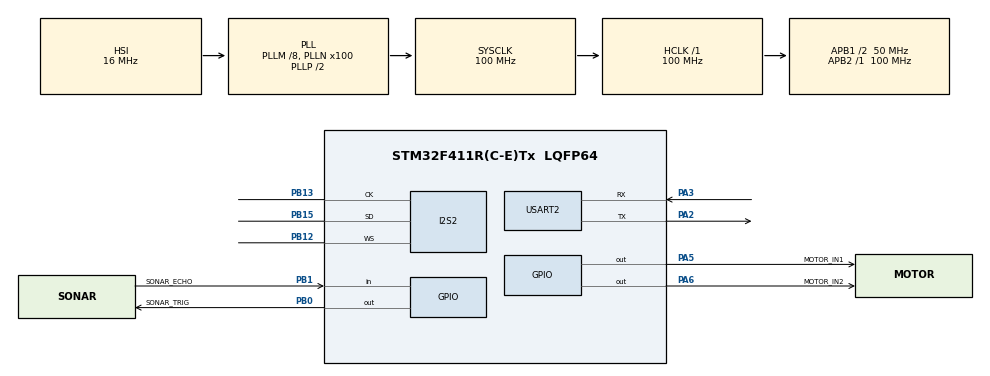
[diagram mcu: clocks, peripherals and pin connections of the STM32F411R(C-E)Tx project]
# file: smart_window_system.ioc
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Dma.Request0=SPI2_RX
Dma.SPI2_RX.0.Direction=DMA_PERIPH_TO_MEMORY
Dma.SPI2_RX.0.FIFOMode=DMA_FIFOMODE_DISABLE
Dma.SPI2_RX.0.Instance=DMA1_Stream3
Dma.SPI2_RX.0.MemDataAlignment=DMA_MDATAALIGN_HALFWORD
Dma.SPI2_RX.0.MemInc=DMA_MINC_ENABLE
Dma.SPI2_RX.0.Mode=DMA_CIRCULAR
Dma.SPI2_RX.0.PeriphDataAlignment=DMA_PDATAALIGN_HALFWORD
Dma.SPI2_RX.0.PeriphInc=DMA_PINC_DISABLE
Dma.SPI2_RX.0.Priority=DMA_PRIORITY_LOW
I2S2.AudioFreq=I2S_AUDIOFREQ_16K
I2S2.DataFormat=I2S_DATAFORMAT_16B_EXTENDED
I2S2.ErrorAudioFreq=-1.31 %
I2S2.FullDuplexMode=I2S_FULLDUPLEXMODE_DISABLE
I2S2.Instance=SPI$Index
I2S2.Mode=I2S_MODE_MASTER_RX
I2S2.RealAudioFreq=15.789 KHz
I2S2.VirtualMode=I2S_MODE_MASTER
Mcu.Family=STM32F4
Mcu.Name=STM32F411R(C-E)Tx
Mcu.Package=LQFP64
NVIC.DMA1_Stream3_IRQn=true\:1\:0\:true\:false\:true\:false\:true\:true
NVIC.PriorityGroup=NVIC_PRIORITYGROUP_4
PA2.Mode=Asynchronous
PA2.Signal=USART2_TX
PA3.Mode=Asynchronous
PA3.Signal=USART2_RX
PA5.GPIO_Label=MOTOR_IN1
PA5.PinState=GPIO_PIN_RESET
PA5.Signal=GPIO_Output
PA6.GPIO_Label=MOTOR_IN2
PA6.PinState=GPIO_PIN_RESET
PA6.Signal=GPIO_Output
PB0.GPIO_Label=SONAR_TRIG
PB0.Signal=GPIO_Output
PB1.GPIO_Label=SONAR_ECHO
PB1.Signal=GPIO_Input
PB12.Mode=Half_Duplex_Master
PB12.Signal=I2S2_WS
PB13.Mode=Half_Duplex_Master
PB13.Signal=I2S2_CK
PB15.Mode=Half_Duplex_Master
PB15.Signal=I2S2_SD
PC14-OSC32_IN.Mode=LSE-External-Oscillator
PC14-OSC32_IN.Signal=RCC_OSC32_IN
PC15-OSC32_OUT.Mode=LSE-External-Oscillator
PC15-OSC32_OUT.Signal=RCC_OSC32_OUT
PH0\ -\ OSC_IN.Mode=HSE-External-Clock-Source
PH0\ -\ OSC_IN.Signal=RCC_OSC_IN
PH1\ -\ OSC_OUT.Mode=HSE-External-Clock-Source
PH1\ -\ OSC_OUT.Signal=RCC_OSC_OUT
ProjectManager.HeapSize=0x800
ProjectManager.StackSize=0x800
ProjectManager.TargetToolchain=STM32CubeIDE
RCC.48MHZClocksFreq_Value=28571428.57142857
RCC.AHBFreq_Value=100000000
RCC.APB1CLKDivider=RCC_HCLK_DIV2
RCC.APB1Freq_Value=50000000
RCC.APB1TimFreq_Value=100000000
RCC.APB2Freq_Value=100000000
RCC.APB2TimFreq_Value=100000000
RCC.CortexFreq_Value=100000000
RCC.FLatency-AdvancedSettings=FLASH_LATENCY_3
RCC.HCLKFreq_Value=100000000
RCC.HSE_VALUE=25000000
RCC.HSI_VALUE=16000000
RCC.PLLI2SR=5
RCC.PLLM=8
RCC.PLLMUL=RCC_PLL_MUL9
RCC.PLLN=100
RCC.PLLQ=7
RCC.RCC_PLLsource_Clock_Source_FROM_HSE=RCC_HSE_PREDIV_DIV2
RCC.SYSCLKFreq_VALUE=100000000
RCC.SYSCLKSource=RCC_SYSCLKSOURCE_PLLCLK
RCC.SYSCLKSourceVirtual=RCC_SYSCLKSOURCE_PLLCLK
RCC.VCOOutputFreq_Value=200000000
STMicroelectronics.X-CUBE-AI.8.0.0.ActivationBufferSizeList=35308
STMicroelectronics.X-CUBE-AI.8.0.0.ActivationBuffers=pool0
STMicroelectronics.X-CUBE-AI.8.0.0.ActivationNames=pool0
STMicroelectronics.X-CUBE-AI.8.0.0.ActivationSizes=AI_RAIN_DETECTOR_MODEL_DATA_ACTIVATION_1_SIZE
STMicroelectronics.X-CUBE-AI.8.0.0.ApplicationCcDeviceJjApplication=ApplicationTemplate
STMicroelectronics.X-CUBE-AI.8.0.0.HeapSize=0x800
STMicroelectronics.X-CUBE-AI.8.0.0.InternalRamActivationBufferMaxSize=AI_RAIN_DETECTOR_MODEL_DATA_ACTIVATIONS_SIZE
STMicroelectronics.X-CUBE-AI.8.0.0.LatestDirectoryUsed-b845f19738b93dee37f0a92ab2f2141bf5e5762379895d0aa1408ba116003dd3=C\:\\Users\\samsung\\GitHub\\sound_train\\models
STMicroelectronics.X-CUBE-AI.8.0.0.MaximumNumberOfInputLayer=1
STMicroelectronics.X-CUBE-AI.8.0.0.MaximumNumberOfOutputLayer=1
STMicroelectronics.X-CUBE-AI.8.0.0.MaximumSizeOfInputLayer=1
STMicroelectronics.X-CUBE-AI.8.0.0.MaximumSizeOfOutputLayer=1
STMicroelectronics.X-CUBE-AI.8.0.0.ModelActualCompression-b845f19738b93dee37f0a92ab2f2141bf5e5762379895d0aa1408ba116003dd3=0.0
STMicroelectronics.X-CUBE-AI.8.0.0.ModelCompression-b845f19738b93dee37f0a92ab2f2141bf5e5762379895d0aa1408ba116003dd3=None
STMicroelectronics.X-CUBE-AI.8.0.0.ModelFlashOccupation-b845f19738b93dee37f0a92ab2f2141bf5e5762379895d0aa1408ba116003dd3=32896
STMicroelectronics.X-CUBE-AI.8.0.0.ModelHashList=b845f19738b93dee37f0a92ab2f2141bf5e5762379895d0aa1408ba116003dd3
STMicroelectronics.X-CUBE-AI.8.0.0.ModelKind-b845f19738b93dee37f0a92ab2f2141bf5e5762379895d0aa1408ba116003dd3=TFLITE
STMicroelectronics.X-CUBE-AI.8.0.0.ModelMacc-b845f19738b93dee37f0a92ab2f2141bf5e5762379895d0aa1408ba116003dd3=1183272
STMicroelectronics.X-CUBE-AI.8.0.0.ModelName-b845f19738b93dee37f0a92ab2f2141bf5e5762379895d0aa1408ba116003dd3=rain_detector_model
STMicroelectronics.X-CUBE-AI.8.0.0.ModelNameList=rain_detector_model
STMicroelectronics.X-CUBE-AI.8.0.0.ModelRamOccupation-b845f19738b93dee37f0a92ab2f2141bf5e5762379895d0aa1408ba116003dd3=35308
STMicroelectronics.X-CUBE-AI.8.0.0.ModelStructureFile-b845f19738b93dee37f0a92ab2f2141bf5e5762379895d0aa1408ba116003dd3=C\:\\Users\\samsung\\GitHub\\sound_train\\models\\rain_detector_int8.tflite
STMicroelectronics.X-CUBE-AI.8.0.0.ModelType-b845f19738b93dee37f0a92ab2f2141bf5e5762379895d0aa1408ba116003dd3=STM32Cube.AI runtime
STMicroelectronics.X-CUBE-AI.8.0.0.ReadyForCodeGeneration=true
STMicroelectronics.X-CUBE-AI.8.0.0.StackSize=0x800
STMicroelectronics.X-CUBE-AI.8.0.0.WorkingBufferStartAddrList=0xFFFFFFFF
STMicroelectronics.X-CUBE-AI.8.0.0.XAaCUBEAaAICcArtificialOoIntelligenceJjCore=true
STMicroelectronics.X-CUBE-AI.8.0.0.copyWeightToRam=false
STMicroelectronics.X-CUBE-AI.8.0.0.copyWeightToRam-b845f19738b93dee37f0a92ab2f2141bf5e5762379895d0aa1408ba116003dd3=false
STMicroelectronics.X-CUBE-AI.8.0.0.customLayerConfigEnabled=false
STMicroelectronics.X-CUBE-AI.8.0.0.customLayerConfigEnabled-b845f19738b93dee37f0a92ab2f2141bf5e5762379895d0aa1408ba116003dd3=false
STMicroelectronics.X-CUBE-AI.8.0.0.useInputAllocation=true
STMicroelectronics.X-CUBE-AI.8.0.0.useInputAllocation-b845f19738b93dee37f0a92ab2f2141bf5e5762379895d0aa1408ba116003dd3=true
STMicroelectronics.X-CUBE-AI.8.0.0.useOutputAllocation=true
STMicroelectronics.X-CUBE-AI.8.0.0.useOutputAllocation-b845f19738b93dee37f0a92ab2f2141bf5e5762379895d0aa1408ba116003dd3=true
USART2.VirtualMode=VM_ASYNC
VP_CRC_VS_CRC.Mode=CRC_Activate
VP_STMicroelectronics.X-CUBE-AI_VS_ArtificialOoIntelligenceJjXAaCUBEAaAI_8.0.0.Mode=ArtificialOoIntelligenceJjXAaCUBEAaAI
VP_STMicroelectronics.X-CUBE-AI_VS_DeviceJjApplication_8.0.0.Mode=DeviceJjApplication
board=custom

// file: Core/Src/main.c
/* USER CODE BEGIN Header */
/**
  ******************************************************************************
  * @file           : main.c
  * @brief          : Main program body
  ******************************************************************************
  * @attention
  *
  * Copyright (c) 2026 STMicroelectronics.
  * All rights reserved.
  *
  * This software is licensed under terms that can be found in the LICENSE file
  * in the root directory of this software component.
  * If no LICENSE file comes with this software, it is provided AS-IS.
  *
  ******************************************************************************
  */
/* USER CODE END Header */
#include "main.h"
#include "app_x-cube-ai.h"

/* USER CODE BEGIN Includes */
#ifndef ARM_MATH_CM4
#define ARM_MATH_CM4
#endif

#include "rain_detector_model.h"
#include "rain_detector_model_data.h"
#include "mfcc_params.h"
#include "arm_math.h"
#include <stdio.h>
#include <math.h>
#include <string.h>
#include <stdbool.h>
/* USER CODE END Includes */

/* USER CODE BEGIN PTD */
typedef enum {
    STATE_WINDOW_OPENING,
    STATE_WINDOW_OPEN,
    STATE_WINDOW_CLOSING,
    STATE_WINDOW_CLOSED
} WindowState;
/* USER CODE END PTD */

/* USER CODE BEGIN PD */
#define THRESHOLD_RAIN_DETECT    5
#define THRESHOLD_NOT_RAIN       30

#define MOTOR_IN1_PIN            GPIO_PIN_5
#define MOTOR_IN1_PORT           GPIOA
#define MOTOR_IN2_PIN            GPIO_PIN_6
#define MOTOR_IN2_PORT           GPIOA

#define SONAR_TRIG_PIN           GPIO_PIN_0
#define SONAR_TRIG_PORT          GPIOB
#define SONAR_ECHO_PIN           GPIO_PIN_1
#define SONAR_ECHO_PORT          GPIOB

#define WINDOW_CLOSED_CM         8U
#define MOTOR_TIMEOUT_MS         6000U
/* USER CODE END PD */

CRC_HandleTypeDef hcrc;

I2S_HandleTypeDef hi2s2;
DMA_HandleTypeDef hdma_spi2_rx;

UART_HandleTypeDef huart2;

/* USER CODE BEGIN PV */
WindowState system_state          = STATE_WINDOW_OPENING;
int         rain_strike_count     = 0;
int         not_rain_strike_count = 0;
uint32_t    motor_start_time      = 0;

#define I2S_CHUNK_FRAMES  160U
#define I2S_DMA_BUF_LEN  (I2S_CHUNK_FRAMES * 2U * 2U)

static uint16_t         i2s_dma_buf[I2S_DMA_BUF_LEN];
static volatile uint8_t i2s_half        = 0;
static volatile bool    i2s_chunk_rdy   = false;
static volatile bool    mic_accumulating = true;
static int              mic_sample_count = 0;
static volatile bool    mic_data_ready   = false;
/* USER CODE END PV */

void SystemClock_Config(void);
static void MX_GPIO_Init(void);
static void MX_DMA_Init(void);
static void MX_CRC_Init(void);
static void MX_USART2_UART_Init(void);
static void MX_I2S2_Init(void);
/* USER CODE BEGIN PFP */
void        AI_Run_Microphone_Inference(int8_t* mic_data, int8_t* out_not_rain, int8_t* out_rain);
void        Hardware_MFCC_Process(const short* p_mic_signal, int8_t* p_out_mfcc_int8);
static void Motor_Close(void);
static void Motor_Open(void);
static void Motor_Stop(void);
static void DWT_DelayUs(uint32_t us);
static uint32_t HC_SR04_ReadCm(void);
/* USER CODE END PFP */

int main(void)
{
  /* USER CODE BEGIN 1 */
	SCB->CPACR |= ((3UL << 10*2)|(3UL << 11*2));
  /* USER CODE END 1 */

  /* MCU Configuration--------------------------------------------------------*/

  /* Reset of all peripherals, Initializes the Flash interface and the Systick. */
  HAL_Init();

  /* Configure the system clock */
  SystemClock_Config();

  /* Initialize all configured peripherals */
  MX_GPIO_Init();
  MX_DMA_Init();
  MX_CRC_Init();
  MX_USART2_UART_Init();
  MX_I2S2_Init();
  MX_X_CUBE_AI_Init();
  /* USER CODE BEGIN 2 */
  CoreDebug->DEMCR |= CoreDebug_DEMCR_TRCENA_Msk;
  DWT->CYCCNT = 0;
  DWT->CTRL  |= DWT_CTRL_CYCCNTENA_Msk;

  setvbuf(stdout, NULL, _IONBF, 0);
  printf("\r\n\r\nSTM32 BOARD BOOTING SUCCESS!!\r\n");

  printf("  [DBG] Calling HAL_I2S_Receive_DMA...\r\n");
  HAL_StatusTypeDef i2s_ret = HAL_I2S_Receive_DMA(&hi2s2, i2s_dma_buf, I2S_DMA_BUF_LEN);
  printf("  [DBG] HAL_I2S_Receive_DMA returned: %d\r\n", (int)i2s_ret);
  if (i2s_ret != HAL_OK) {
      printf("  [I2S] DMA start FAILED (err=%d, i2s_err=0x%lx)\r\n",
             (int)i2s_ret, hi2s2.ErrorCode);
  } else {
      printf("  [I2S] DMA RX started (ICS43434 @ 16kHz)\r\n");
  }

  /* Prime H-bridge bootstrap capacitor before opening */
  Motor_Close();
  HAL_Delay(150);
  Motor_Stop();
  HAL_Delay(50);

  printf("  [STATE] BOOT -> OPENING\r\n");
  Motor_Open();
  motor_start_time = HAL_GetTick();
  /* USER CODE END 2 */

  /* Infinite loop */
  /* USER CODE BEGIN WHILE */
  static uint32_t total_seconds = 0;
  static short    mic_raw_signal[16000];
  static int8_t   test_buffer[1274];

  const char* event_log = "System Init. Opening window...";

  while (1)
  {
    /* USER CODE END WHILE */

  MX_X_CUBE_AI_Process();
    /* USER CODE BEGIN 3 */

    if (i2s_chunk_rdy && mic_accumulating) {
        i2s_chunk_rdy = false;
        uint16_t *src = i2s_dma_buf +
                        (i2s_half ? I2S_CHUNK_FRAMES * 2U : 0U);
        for (int i = 0; i < (int)I2S_CHUNK_FRAMES; i++) {
            mic_raw_signal[mic_sample_count++] = (int16_t)src[i * 2];
        }
        if (mic_sample_count >= 16000) {
            mic_sample_count = 0;
            mic_data_ready   = true;
            mic_accumulating = false;
        }
    }

    if (mic_data_ready) {
        mic_data_ready = false;
        total_seconds++;

        #define MIC_NOISE_FLOOR   300
        #define MIC_TARGET_PEAK   10000
        int16_t mic_max = 0;
        for (int i = 0; i < 16000; i++) {
            int16_t v = mic_raw_signal[i] < 0 ? -mic_raw_signal[i] : mic_raw_signal[i];
            if (v > mic_max) mic_max = v;
        }
        printf("  [MIC] max_amp: %d\r\n", mic_max);
        if (mic_max > MIC_NOISE_FLOOR) {
            float norm_scale = (float)MIC_TARGET_PEAK / (float)mic_max;
            for (int i = 0; i < 16000; i++) {
                int32_t s = (int32_t)((float)mic_raw_signal[i] * norm_scale);
                if (s >  32767) s =  32767;
                if (s < -32768) s = -32768;
                mic_raw_signal[i] = (int16_t)s;
            }
        }

        Hardware_MFCC_Process(mic_raw_signal, test_buffer);
        printf("  [MFCC dbg] f0: %4d %4d %4d\r\n",
               (int)test_buffer[0], (int)test_buffer[1], (int)test_buffer[2]);

        int8_t out_not_rain = 0;
        int8_t out_rain     = 0;
        AI_Run_Microphone_Inference(test_buffer, &out_not_rain, &out_rain);

        if (out_rain > out_not_rain) {
            if (rain_strike_count     < THRESHOLD_RAIN_DETECT) rain_strike_count++;
            if (not_rain_strike_count > 0)                     not_rain_strike_count--;
        } else {
            if (not_rain_strike_count < THRESHOLD_NOT_RAIN)    not_rain_strike_count++;
            if (rain_strike_count     > 0)                     rain_strike_count--;
        }

        uint32_t distance_cm = HC_SR04_ReadCm();
        bool     window_open = (distance_cm >= WINDOW_CLOSED_CM);
        printf("  [SONAR] %u cm -> %s\r\n",
               (unsigned)distance_cm, window_open ? "OPEN" : "CLOSED");

        switch (system_state) {

            case STATE_WINDOW_OPENING:
                if (window_open ||
                    (HAL_GetTick() - motor_start_time) >= MOTOR_TIMEOUT_MS) {
                    printf("  [STATE] OPENING -> OPEN%s\r\n", window_open ? "" : " (timeout)");
                    Motor_Stop();
                    rain_strike_count     = 0;
                    not_rain_strike_count = 0;
                    system_state = STATE_WINDOW_OPEN;
                    event_log    = window_open
                                   ? "Window OPEN confirmed. Monitoring for rain."
                                   : "Window OPEN (timeout). Monitoring for rain.";
                } else {
                    event_log = "Window Opening... Motor is active.";
                }
                break;

            case STATE_WINDOW_OPEN:
                if (rain_strike_count >= THRESHOLD_RAIN_DETECT) {
                    printf("  [STATE] OPEN -> CLOSING\r\n");
                    Motor_Close();
                    motor_start_time      = HAL_GetTick();
                    not_rain_strike_count = 0;
                    system_state = STATE_WINDOW_CLOSING;
                    event_log    = "RAIN DETECTED! Motor ON. Window closing.";
                } else {
                    event_log = "Weather Clear. Window remains OPEN.";
                }
                break;

            case STATE_WINDOW_CLOSING:
                if (!window_open ||
                    (HAL_GetTick() - motor_start_time) >= MOTOR_TIMEOUT_MS) {
                    printf("  [STATE] CLOSING -> CLOSED%s\r\n", !window_open ? "" : " (timeout)");
                    Motor_Stop();
                    not_rain_strike_count = 0;
                    system_state = STATE_WINDOW_CLOSED;
                    event_log    = !window_open
                                   ? "Window CLOSED confirmed. Waiting for manual open."
                                   : "Window CLOSED (timeout). Waiting for manual open.";
                } else {
                    event_log = "Window Closing... Motor is active.";
                }
                break;

            case STATE_WINDOW_CLOSED:
                if (window_open) {
                    printf("  [STATE] CLOSED -> OPEN (manual open detected)\r\n");
                    rain_strike_count     = 0;
                    not_rain_strike_count = 0;
                    system_state = STATE_WINDOW_OPEN;
                    event_log    = "Manual open detected. Monitoring for rain.";
                } else {
                    event_log = "Window CLOSED. Waiting for manual open...";
                }
                break;
        }

        int percent_rain     = (int)(((out_rain     + 128) * 100) / 255);
        int percent_not_rain = (int)(((out_not_rain + 128) * 100) / 255);

        printf("==================================================\r\n");
        printf("           AI Smart Window Dashboard              \r\n");
        printf("==================================================\r\n");
        printf("  Uptime        : %lu sec\r\n", total_seconds);

        const char* state_str = "UNKNOWN";
        switch (system_state) {
            case STATE_WINDOW_OPENING: state_str = "OPENING (Motor ON)";   break;
            case STATE_WINDOW_OPEN:    state_str = "OPEN    (Monitoring)"; break;
            case STATE_WINDOW_CLOSING: state_str = "CLOSING (Motor ON)";   break;
            case STATE_WINDOW_CLOSED:  state_str = "CLOSED  (Monitoring)"; break;
        }
        printf("  System State  : %s\r\n", state_str);
        printf("  Window Pos    : %u cm (%s)\r\n",
               (unsigned)distance_cm, window_open ? "OPEN" : "CLOSED");
        printf("--------------------------------------------------\r\n");
        printf("         Neural Network Output Data\r\n");
        printf("  - Raw Outputs : Not Rain [%4d] | Rain [%4d]\r\n", out_not_rain, out_rain);
        printf("  - Not Rain Probability : %3d %%\r\n", percent_not_rain);
        printf("  - Rain    Probability  : %3d %%\r\n", percent_rain);
        printf("--------------------------------------------------\r\n");
        printf("         Confidence Threshold Counters\r\n");
        printf("  - Rain   Strikes : %2d / %d\r\n", rain_strike_count,     THRESHOLD_RAIN_DETECT);
        printf("  - Clear  Strikes : %2d / %d\r\n", not_rain_strike_count, THRESHOLD_NOT_RAIN);
        printf("==================================================\r\n");
        printf("  Event Log     : %s\r\n", event_log);

        uint8_t pin5 = HAL_GPIO_ReadPin(GPIOA, GPIO_PIN_5);
        uint8_t pin6 = HAL_GPIO_ReadPin(GPIOA, GPIO_PIN_6);
        printf("  [GPIO] PA5(IN1)=%d  PA6(IN2)=%d\r\n", pin5, pin6);

        mic_accumulating = true;
    }
  /* USER CODE END 3 */
  }
}

void SystemClock_Config(void)
{
  RCC_OscInitTypeDef RCC_OscInitStruct = {0};
  RCC_ClkInitTypeDef RCC_ClkInitStruct = {0};

  /** Configure the main internal regulator output voltage
  */
  __HAL_RCC_PWR_CLK_ENABLE();
  __HAL_PWR_VOLTAGESCALING_CONFIG(PWR_REGULATOR_VOLTAGE_SCALE1);

  /** Initializes the RCC Oscillators according to the specified parameters
  * in the RCC_OscInitTypeDef structure.
  */
  RCC_OscInitStruct.OscillatorType = RCC_OSCILLATORTYPE_HSI;
  RCC_OscInitStruct.HSIState = RCC_HSI_ON;
  RCC_OscInitStruct.HSICalibrationValue = RCC_HSICALIBRATION_DEFAULT;
  RCC_OscInitStruct.PLL.PLLState = RCC_PLL_ON;
  RCC_OscInitStruct.PLL.PLLSource = RCC_PLLSOURCE_HSI;
  RCC_OscInitStruct.PLL.PLLM = 8;
  RCC_OscInitStruct.PLL.PLLN = 100;
  RCC_OscInitStruct.PLL.PLLP = RCC_PLLP_DIV2;
  RCC_OscInitStruct.PLL.PLLQ = 7;
  if (HAL_RCC_OscConfig(&RCC_OscInitStruct) != HAL_OK)
  {
    Error_Handler();
  }

  /** Initializes the CPU, AHB and APB buses clocks
  */
  RCC_ClkInitStruct.ClockType = RCC_CLOCKTYPE_HCLK|RCC_CLOCKTYPE_SYSCLK
                              |RCC_CLOCKTYPE_PCLK1|RCC_CLOCKTYPE_PCLK2;
  RCC_ClkInitStruct.SYSCLKSource = RCC_SYSCLKSOURCE_PLLCLK;
  RCC_ClkInitStruct.AHBCLKDivider = RCC_SYSCLK_DIV1;
  RCC_ClkInitStruct.APB1CLKDivider = RCC_HCLK_DIV2;
  RCC_ClkInitStruct.APB2CLKDivider = RCC_HCLK_DIV1;

  if (HAL_RCC_ClockConfig(&RCC_ClkInitStruct, FLASH_LATENCY_3) != HAL_OK)
  {
    Error_Handler();
  }
}

static void MX_CRC_Init(void)
{

  hcrc.Instance = CRC;
  if (HAL_CRC_Init(&hcrc) != HAL_OK)
  {
    Error_Handler();
  }

}

static void MX_I2S2_Init(void)
{

  hi2s2.Instance = SPI2;
  hi2s2.Init.Mode = I2S_MODE_MASTER_RX;
  hi2s2.Init.Standard = I2S_STANDARD_PHILIPS;
  hi2s2.Init.DataFormat = I2S_DATAFORMAT_16B_EXTENDED;
  hi2s2.Init.MCLKOutput = I2S_MCLKOUTPUT_DISABLE;
  hi2s2.Init.AudioFreq = I2S_AUDIOFREQ_16K;
  hi2s2.Init.CPOL = I2S_CPOL_LOW;
  hi2s2.Init.ClockSource = I2S_CLOCK_PLL;
  hi2s2.Init.FullDuplexMode = I2S_FULLDUPLEXMODE_DISABLE;
  if (HAL_I2S_Init(&hi2s2) != HAL_OK)
  {
    Error_Handler();
  }

}

static void MX_USART2_UART_Init(void)
{

  huart2.Instance = USART2;
  huart2.Init.BaudRate = 115200;
  huart2.Init.WordLength = UART_WORDLENGTH_8B;
  huart2.Init.StopBits = UART_STOPBITS_1;
  huart2.Init.Parity = UART_PARITY_NONE;
  huart2.Init.Mode = UART_MODE_TX_RX;
  huart2.Init.HwFlowCtl = UART_HWCONTROL_NONE;
  huart2.Init.OverSampling = UART_OVERSAMPLING_16;
  if (HAL_UART_Init(&huart2) != HAL_OK)
  {
    Error_Handler();
  }

}

static void MX_DMA_Init(void)
{

  /* DMA controller clock enable */
  __HAL_RCC_DMA1_CLK_ENABLE();

  /* DMA interrupt init */
  /* DMA1_Stream3_IRQn interrupt configuration */
  HAL_NVIC_SetPriority(DMA1_Stream3_IRQn, 1, 0);
  HAL_NVIC_EnableIRQ(DMA1_Stream3_IRQn);

}

static void MX_GPIO_Init(void)
{
  GPIO_InitTypeDef GPIO_InitStruct = {0};

  /* GPIO Ports Clock Enable */
  __HAL_RCC_GPIOC_CLK_ENABLE();
  __HAL_RCC_GPIOH_CLK_ENABLE();
  __HAL_RCC_GPIOA_CLK_ENABLE();
  __HAL_RCC_GPIOB_CLK_ENABLE();

  /*Configure GPIO pin Output Level */
  HAL_GPIO_WritePin(GPIOA, MOTOR_IN1_Pin|MOTOR_IN2_Pin, GPIO_PIN_RESET);

  /*Configure GPIO pin Output Level */
  HAL_GPIO_WritePin(SONAR_TRIG_GPIO_Port, SONAR_TRIG_Pin, GPIO_PIN_RESET);

  /*Configure GPIO pins : MOTOR_IN1_Pin MOTOR_IN2_Pin */
  GPIO_InitStruct.Pin = MOTOR_IN1_Pin|MOTOR_IN2_Pin;
  GPIO_InitStruct.Mode = GPIO_MODE_OUTPUT_PP;
  GPIO_InitStruct.Pull = GPIO_NOPULL;
  GPIO_InitStruct.Speed = GPIO_SPEED_FREQ_LOW;
  HAL_GPIO_Init(GPIOA, &GPIO_InitStruct);

  /*Configure GPIO pin : SONAR_TRIG_Pin */
  GPIO_InitStruct.Pin = SONAR_TRIG_Pin;
  GPIO_InitStruct.Mode = GPIO_MODE_OUTPUT_PP;
  GPIO_InitStruct.Pull = GPIO_NOPULL;
  GPIO_InitStruct.Speed = GPIO_SPEED_FREQ_LOW;
  HAL_GPIO_Init(SONAR_TRIG_GPIO_Port, &GPIO_InitStruct);

  /*Configure GPIO pin : SONAR_ECHO_Pin */
  GPIO_InitStruct.Pin = SONAR_ECHO_Pin;
  GPIO_InitStruct.Mode = GPIO_MODE_INPUT;
  GPIO_InitStruct.Pull = GPIO_NOPULL;
  HAL_GPIO_Init(SONAR_ECHO_GPIO_Port, &GPIO_InitStruct);

}

/* USER CODE BEGIN 4 */
int _write(int file, char *ptr, int len)
{
    HAL_UART_Transmit(&huart2, (uint8_t *)ptr, len, HAL_MAX_DELAY);
    return len;
}

void HAL_I2S_RxHalfCpltCallback(I2S_HandleTypeDef *hi2s)
{
    if (hi2s->Instance == SPI2) {
        i2s_half      = 0;
        i2s_chunk_rdy = true;
    }
}

void HAL_I2S_RxCpltCallback(I2S_HandleTypeDef *hi2s)
{
    if (hi2s->Instance == SPI2) {
        i2s_half      = 1;
        i2s_chunk_rdy = true;
    }
}

static void DWT_DelayUs(uint32_t us)
{
    uint32_t start = DWT->CYCCNT;
    uint32_t ticks = us * (SystemCoreClock / 1000000U);
    while ((DWT->CYCCNT - start) < ticks);
}

static uint32_t HC_SR04_ReadCm(void)
{
    HAL_GPIO_WritePin(SONAR_TRIG_PORT, SONAR_TRIG_PIN, GPIO_PIN_SET);
    DWT_DelayUs(10);
    HAL_GPIO_WritePin(SONAR_TRIG_PORT, SONAR_TRIG_PIN, GPIO_PIN_RESET);

    uint32_t t_start = HAL_GetTick();
    while (HAL_GPIO_ReadPin(SONAR_ECHO_PORT, SONAR_ECHO_PIN) == GPIO_PIN_RESET) {
        if (HAL_GetTick() - t_start > 30U) return 999U;
    }
    uint32_t echo_start = DWT->CYCCNT;

    t_start = HAL_GetTick();
    while (HAL_GPIO_ReadPin(SONAR_ECHO_PORT, SONAR_ECHO_PIN) == GPIO_PIN_SET) {
        if (HAL_GetTick() - t_start > 30U) return 999U;
    }
    uint32_t echo_end = DWT->CYCCNT;

    uint32_t elapsed_us = (echo_end - echo_start) / (SystemCoreClock / 1000000U);
    return elapsed_us / 58U;
}

static void Motor_Close(void)
{
    HAL_GPIO_WritePin(MOTOR_IN2_PORT, MOTOR_IN2_PIN, GPIO_PIN_RESET);
    HAL_GPIO_WritePin(MOTOR_IN1_PORT, MOTOR_IN1_PIN, GPIO_PIN_SET);
    uint8_t r5 = HAL_GPIO_ReadPin(MOTOR_IN1_PORT, MOTOR_IN1_PIN);
    uint8_t r6 = HAL_GPIO_ReadPin(MOTOR_IN2_PORT, MOTOR_IN2_PIN);
    printf("  [MOTOR] CLOSE PA5=%d PA6=%d\r\n", r5, r6);
}

static void Motor_Open(void)
{
    HAL_GPIO_WritePin(MOTOR_IN1_PORT, MOTOR_IN1_PIN, GPIO_PIN_RESET);
    HAL_GPIO_WritePin(MOTOR_IN2_PORT, MOTOR_IN2_PIN, GPIO_PIN_SET);
    uint8_t r5 = HAL_GPIO_ReadPin(MOTOR_IN1_PORT, MOTOR_IN1_PIN);
    uint8_t r6 = HAL_GPIO_ReadPin(MOTOR_IN2_PORT, MOTOR_IN2_PIN);
    printf("  [MOTOR] OPEN  PA5=%d PA6=%d\r\n", r5, r6);
}

static void Motor_Stop(void)
{
    HAL_GPIO_WritePin(MOTOR_IN1_PORT, MOTOR_IN1_PIN, GPIO_PIN_RESET);
    HAL_GPIO_WritePin(MOTOR_IN2_PORT, MOTOR_IN2_PIN, GPIO_PIN_RESET);
    uint8_t r5 = HAL_GPIO_ReadPin(MOTOR_IN1_PORT, MOTOR_IN1_PIN);
    uint8_t r6 = HAL_GPIO_ReadPin(MOTOR_IN2_PORT, MOTOR_IN2_PIN);
    printf("  [MOTOR] STOP  PA5=%d PA6=%d\r\n", r5, r6);
}

void Hardware_MFCC_Process(const short* p_mic_signal, int8_t* p_out_mfcc_int8)
{
    #define _NUM_COEFS       MFCC_NUM_COEFS     /* 13  */
    #define _NUM_FRAMES      98                 /* (16000-480)/160 + 1 */
    #define _FFT_LEN         MFCC_FFT_LENGTH    /* 512 */
    #define _FRAME_LEN       MFCC_FRAME_LENGTH  /* 480 */
    #define _HOP_LEN         MFCC_FRAME_STEP    /* 160 */

    const float AI_SCALE      = 0.35635978f;
    const int   AI_ZERO_POINT = 70;

    static arm_mfcc_instance_f32 mfcc_inst;
    static float32_t frame_buffer_f32[_FFT_LEN];
    static float32_t mfcc_out_f32[_NUM_COEFS];
    static float32_t mfcc_tmp[_FFT_LEN + 2U];

    static bool is_initialized = false;
    int out_idx = 0;

    if (!is_initialized) {
        arm_status status = arm_mfcc_init_f32(
            &mfcc_inst,
            _FFT_LEN,
            MFCC_NUM_MEL_FILTERS,
            _NUM_COEFS,
            mfcc_dct_coefs,
            mfcc_filter_pos,
            mfcc_filter_lengths,
            mfcc_filter_coefs,
            mfcc_window_coefs);

        if (status != ARM_MATH_SUCCESS) {
            printf("\r\nCMSIS-DSP MFCC Init Failed!!\r\n");
        }
        is_initialized = true;
    }

    for (int f = 0; f < _NUM_FRAMES; f++)
    {
        int frame_start = f * _HOP_LEN;

        memset(frame_buffer_f32, 0, sizeof(frame_buffer_f32));

        for (int i = 0; i < _FRAME_LEN; i++)
        {
            frame_buffer_f32[i] = (float32_t)p_mic_signal[frame_start + i] / 32768.0f;
        }

        arm_mfcc_f32(&mfcc_inst, frame_buffer_f32, mfcc_out_f32, mfcc_tmp);

        for (int c = 0; c < _NUM_COEFS; c++)
        {
            float32_t quantized_val = (mfcc_out_f32[c] / AI_SCALE) + AI_ZERO_POINT;
            int32_t rounded_val = (quantized_val >= 0.0f)
                ? (int32_t)(quantized_val + 0.5f)
                : (int32_t)(quantized_val - 0.5f);

            if (rounded_val >  127) rounded_val =  127;
            if (rounded_val < -128) rounded_val = -128;

            p_out_mfcc_int8[out_idx++] = (int8_t)rounded_val;
        }
    }
}
/* USER CODE END 4 */

void Error_Handler(void)
{
  __disable_irq();
  while (1)
  {
  }
}
